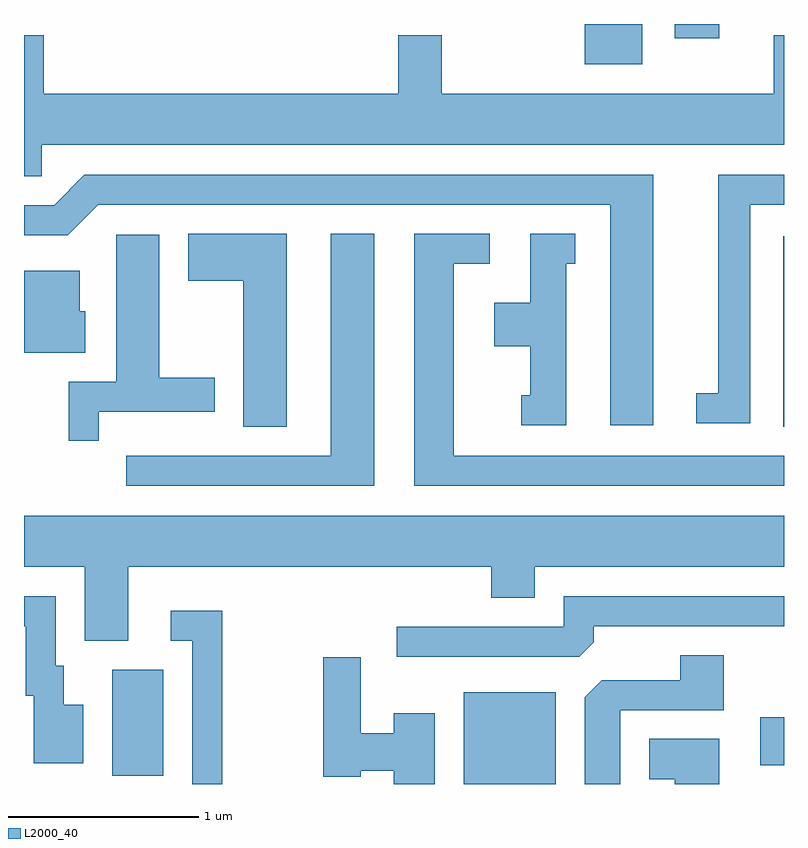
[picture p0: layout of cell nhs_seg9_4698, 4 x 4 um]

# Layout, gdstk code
import gdstk
lib = gdstk.Library(unit=1e-6, precision=1e-09)
def R(c, l, rs):  # rectangles x0, y0, x1, y1
    for r in rs: c.add(gdstk.rectangle(r[:2], r[2:], *l))
def P(c, l, *ps):  # polygons
    for p in ps: c.add(gdstk.Polygon(p, *l))
L2000_40 = (2000, 40)

nhs_seg9_4698 = lib.new_cell('nhs_seg9_4698')
R(nhs_seg9_4698, L2000_40, [(325.926,2008.432,326.409,2008.914), (324.076,2008.476,324.344,2009.034), (327.486,2008.531,327.611,2008.784), (327.606,2010.311,327.611,2011.314), (326.561,2012.221,326.864,2012.432), (327.036,2012.356,327.269,2012.432)])
P(nhs_seg9_4698, L2000_40, [(323.704,2011.796),(327.611,2011.796),(327.611,2012.374),(327.556,2012.374),(327.556,2012.064),(325.809,2012.064),(325.809,2012.374),(325.581,2012.374),(325.581,2012.064),(323.714,2012.064),(323.714,2012.374),(323.611,2012.374),(323.611,2011.631),(323.704,2011.631)],
  [(327.434,2011.481),(327.611,2011.481),(327.611,2011.639),(327.266,2011.639),(327.266,2010.489),(327.148,2010.489),(327.148,2010.331),(327.434,2010.331)],
  [(326.924,2011.639),(323.929,2011.639),(323.769,2011.479),(323.611,2011.479),(323.611,2011.321),(323.842,2011.321),(324.002,2011.481),(326.696,2011.481),(326.696,2010.321),(326.924,2010.321)],
  [(326.464,2011.171),(326.513,2011.171),(326.513,2011.329),(326.276,2011.329),(326.276,2010.964),(326.086,2010.964),(326.086,2010.736),(326.276,2010.736),(326.276,2010.479),(326.228,2010.479),(326.228,2010.321),(326.464,2010.321)],
  [(327.611,2010.159),(325.874,2010.159),(325.874,2011.171),(326.063,2011.171),(326.063,2011.329),(325.666,2011.329),(325.666,2010.001),(327.611,2010.001)],
  [(325.454,2011.329),(325.226,2011.329),(325.226,2010.159),(324.148,2010.159),(324.148,2010.001),(325.454,2010.001)],
  [(324.994,2011.329),(324.476,2011.329),(324.476,2011.081),(324.766,2011.081),(324.766,2010.311),(324.994,2010.311)],
  [(324.004,2010.391),(324.614,2010.391),(324.614,2010.569),(324.324,2010.569),(324.324,2011.324),(324.096,2011.324),(324.096,2010.549),(323.846,2010.549),(323.846,2010.238),(324.004,2010.238)],
  [(323.934,2010.919),(323.904,2010.919),(323.904,2011.134),(323.611,2011.134),(323.611,2010.701),(323.934,2010.701)],
  [(324.159,2009.576),(326.071,2009.576),(326.071,2009.411),(326.299,2009.411),(326.299,2009.576),(327.611,2009.576),(327.611,2009.844),(323.611,2009.844),(323.611,2009.576),(323.931,2009.576),(323.931,2009.186),(324.159,2009.186)],
  [(323.924,2008.849),(323.819,2008.849),(323.819,2009.054),(323.779,2009.054),(323.779,2009.419),(323.611,2009.419),(323.611,2009.261),(323.621,2009.261),(323.621,2008.896),(323.661,2008.896),(323.661,2008.541),(323.924,2008.541)],
  [(326.609,2009.177),(326.609,2009.261),(327.611,2009.261),(327.611,2009.419),(326.451,2009.419),(326.451,2009.259),(325.573,2009.259),(325.573,2009.101),(326.534,2009.101)],
  [(324.654,2009.344),(324.383,2009.344),(324.383,2009.186),(324.496,2009.186),(324.496,2008.432),(324.654,2008.432)],
  [(326.749,2008.821),(327.294,2008.821),(327.294,2009.109),(327.066,2009.109),(327.066,2008.979),(326.652,2008.979),(326.561,2008.889),(326.561,2008.432),(326.749,2008.432)],
  [(325.774,2008.804),(325.556,2008.804),(325.556,2008.699),(325.384,2008.699),(325.384,2009.099),(325.186,2009.099),(325.186,2008.471),(325.384,2008.471),(325.384,2008.501),(325.556,2008.501),(325.556,2008.432),(325.774,2008.432)],
  [(327.269,2008.669),(326.901,2008.669),(326.901,2008.456),(327.036,2008.456),(327.036,2008.432),(327.269,2008.432)])

lib.write_gds('nhs_seg9_4698.gds')
